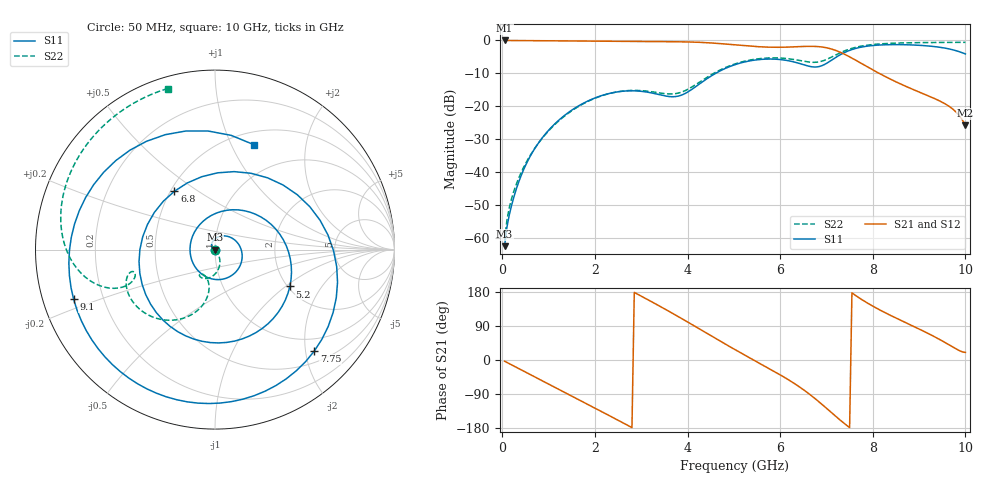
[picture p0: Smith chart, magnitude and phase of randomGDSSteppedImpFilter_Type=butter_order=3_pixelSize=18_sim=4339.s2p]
! freq	dB(S11)	phase(S11)	dB(S12)	phase(S12)
!  dB(S21)	phase(S21)	dB(S22)	phase(S22)
!S-par simulation data
#  GHz  S  DB  R 50
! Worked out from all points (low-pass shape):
!   200 points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, 50 MHz to 10 GHz, reference 50 ohm
!   highest |S21| = -0.01 dB at 50 MHz (marker M1); lowest = -25.8 dB at 10 GHz (marker M2)
!   |S21| within 3 dB of the highest: start of sweep to 7.193 GHz
!   lowest |S11| = -62.6 dB at 50 MHz (marker M3), VSWR 1.00, Z = 50 - j0.0674 ohm
!   |S11| at or under -10 dB: start of sweep to 4.608 GHz
!   |S22| runs from -60.9 to -0.6 dB; largest |S21 - S12| = 0
!   S11 on the Smith chart (normalised r, x): 50 MHz: 1.00, -0.00; 5.2 GHz: 2.05, -1.07; 6.8 GHz: 0.52, +0.40; 7.75 GHz: 0.72, -2.18; 9.1 GHz: 0.09, -0.17; 10 GHz: 0.64, +1.23
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0.05  -62.56 -64.8  -0.01 -3.2  -0.01 -3.2  -60.90 -49.9
0.2  -50.19 -127.7  -0.02 -12.7  -0.02 -12.7  -48.13 -60.3
0.6  -35.29 157.3  -0.05 -37.9  -0.05 -37.9  -35.02 -54.7
1.2  -24.50 90.3  -0.11 -75.9  -0.11 -75.9  -24.71 -63.4
1.75  -19.10 37.5  -0.18 -111.0  -0.18 -111.0  -19.25 -79.7
2.6  -15.44 -41.7  -0.33 -165.4  -0.33 -165.4  -15.40 -108.3
3.4  -16.52 -132.7  -0.38 142.0  -0.38 142.0  -15.98 -121.1
4.2  -13.82 87.9  -0.54 86.2  -0.54 86.2  -13.21 -98.7
5.05  -7.25 -11.8  -1.39 25.7  -1.39 25.7  -7.03 -118.6
5.2  -6.65 -26.2  -1.57 15.4  -1.57 15.4  -6.43 -124.5
6  -5.81 -103.4  -2.08 -39.1  -2.08 -39.1  -5.35 -154.7
6.4  -6.94 -154.4  -1.89 -69.6  -1.89 -69.6  -6.04 -164.3
6.7  -8.04 148.6  -1.80 -96.5  -1.80 -96.5  -6.65 -163.8
6.8  -8.05 124.9  -1.85 -106.5  -1.85 -106.5  -6.60 -161.8
7.05  -6.55 64.7  -2.39 -132.7  -2.39 -132.7  -5.48 -157.9
7.35  -3.95 7.3  -3.93 -164.1  -3.93 -164.1  -3.42 -162.7
7.75  -2.04 -45.6  -6.96 160.4  -6.96 160.4  -1.74 -178.3
8.35  -1.29 -100.3  -11.56 119.7  -11.56 119.7  -0.90 158.6
9.1  -1.57 -160.8  -16.26 75.8  -16.26 75.8  -0.65 134.0
9.6  -2.44 145.2  -19.60 43.4  -19.60 43.4  -0.60 118.6
9.85  -3.34 103.9  -22.57 26.0  -22.57 26.0  -0.59 111.0
10  -4.10 69.4  -25.78 20.0  -25.78 20.0  -0.58 106.3
